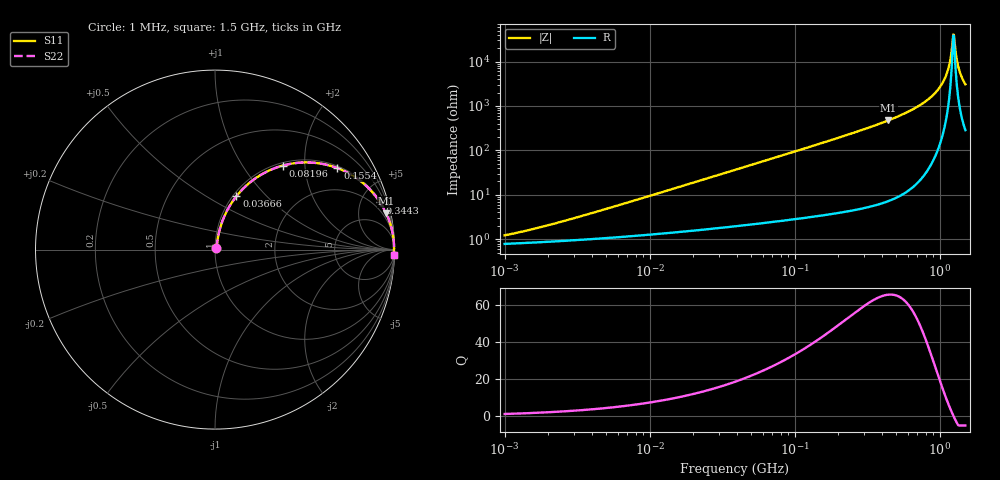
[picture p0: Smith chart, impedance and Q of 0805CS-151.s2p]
# MHz S MA R 50
!Freq  MagS11  AngS11  MagS21  AngS21  MagS12  AngS12  MagS22  AngS22
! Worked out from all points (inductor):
!   801 points, 1 MHz to 1.5 GHz, reference 50 ohm
!   read as one part in series: L = 149 nH near 3.05 MHz
!   highest Q = 65.7 at 440.7 MHz (marker M1), where L = 170 nH
!   self-resonance near 1.238 GHz
!   S11 on the Smith chart (normalised r, x): 1 MHz: 1.02, +0.02; 36.66 MHz: 1.04, +0.69; 81.96 MHz: 1.05, +1.54; 155.4 MHz: 1.07, +2.96; 344.3 MHz: 1.11, +6.98; 1.5 GHz: 7, -61
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1  0.01211 49.6  0.9922 -0.5  0.9922 -0.5  0.01211 49.6
3.404045  0.03298 71.2  0.9899 -1.8  0.9899 -1.8  0.03298 71.2
11.48208  0.1063 77.0  0.9815 -6.1  0.9815 -6.1  0.1063 77.0
36.66274  0.3199 68.2  0.9298 -18.6  0.9298 -18.6  0.3199 68.2
38.72983  0.3359 67.3  0.9241 -19.6  0.9241 -19.6  0.3359 67.3
81.95869  0.6009 51.2  0.7793 -36.9  0.7793 -36.9  0.6009 51.2
131.8381  0.771 38.1  0.6175 -50.4  0.6175 -50.4  0.771 38.1
155.4186  0.8195 33.7  0.5543 -55.0  0.5543 -55.0  0.8195 33.7
344.2729  0.9573 15.9  0.2742 -73.2  0.2742 -73.2  0.9573 15.9
440.6522  0.9753 11.9  0.2067 -77.2  0.2067 -77.2  0.9753 11.9
444.6989  0.9758 11.8  0.2044 -77.3  0.2044 -77.3  0.9758 11.8
708.8297  0.9929 5.8  0.101 -83.1  0.101 -83.1  0.9929 5.8
949.6981  0.997 2.7  0.04674 -85.0  0.04674 -85.0  0.997 2.7
1040.607  0.9975 1.8  0.03073 -84.5  0.03073 -84.5  0.9975 1.8
1109.373  0.9977 1.1  0.0197 -82.8  0.0197 -82.8  0.9977 1.1
1161.256  0.9977 0.7  0.01192 -78.8  0.01192 -78.8  0.9977 0.7
1215.566  0.9977 0.2  0.004505 -59.2  0.004505 -59.2  0.9977 0.2
1237.995  0.9977 0.0  0.002452 -17.7  0.002452 -17.7  0.9977 0.0
1272.416  0.9976 -0.2  0.004628 58.4  0.004628 58.4  0.9976 -0.2
1331.925  0.9974 -0.7  0.01206 77.1  0.01206 77.1  0.9974 -0.7
1368.958  0.9972 -0.9  0.01671 79.9  0.01671 79.9  0.9972 -0.9
1500  0.9965 -1.9  0.03243 82.8  0.03243 82.8  0.9965 -1.9
